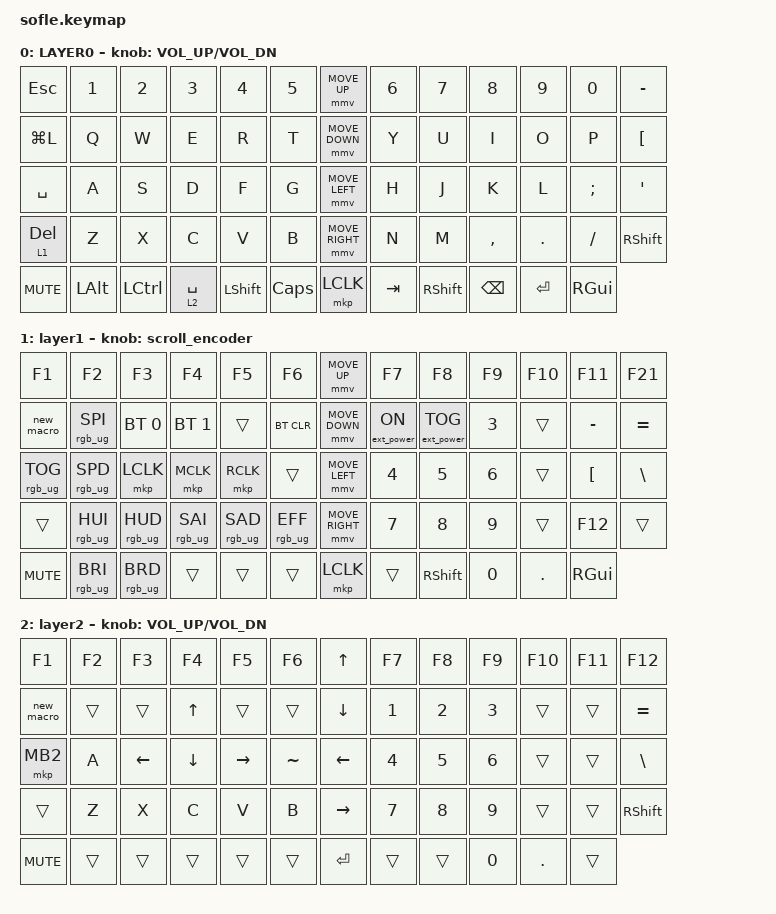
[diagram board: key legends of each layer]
#include <behaviors/mouse_keys.dtsi>
#include <behaviors.dtsi>
#include <dt-bindings/zmk/bt.h>
#include <dt-bindings/zmk/ext_power.h>
#include <dt-bindings/zmk/keys.h>
#include <dt-bindings/zmk/mouse.h>
#include <dt-bindings/zmk/rgb.h>

#define ZMK_MOUSE_DEFAULT_MOVE_VAL 1200  // 600
#define ZMK_MOUSE_DEFAULT_SCRL_VAL 20    // 10
#define U_MS_U &mmv MOVE_UP
#define U_MS_D &mmv MOVE_DOWN
#define U_MS_L &mmv MOVE_LEFT
#define U_MS_R &mmv MOVE_RIGHT
#define ZMK_MOUSE_DEFAULT_MOVE_VAL 1200  //  600
#define ZMK_MOUSE_DEFAULT_SCRL_VAL 20    // 10

/ {
    behaviors {
        mmv {
            acceleration-exponent = <1>;      // 1
            time-to-max-speed-ms = <900>;    // 40
            delay-ms = <0>;                   // 0
        };

        msc {
            acceleration-exponent = <1>;      // 0
            time-to-max-speed-ms = <400>;      // 500
            delay-ms = <0>;                   //   10
        };
    };

    scroll_encoder: scroll_encoder {
        compatible = "zmk,behavior-sensor-rotate";
        #sensor-binding-cells = <0>;
        bindings = <&msc SCRL_DOWN>, <&msc SCRL_UP>;

        tap-ms = <30>;
    };

    macros {
        new_macro: new_macro {
            compatible = "zmk,behavior-macro";
            #binding-cells = <0>;
            bindings = <&none &kp J &kp J &kp K &kp K &kp RET>;
            label = "NEW_MACRO";
        };

        new_macro2: new_macro2 {
            compatible = "zmk,behavior-macro";
            #binding-cells = <0>;
            bindings = <&none &kp TAB &kp RG(X) &kp U &kp S>;
            label = "NEW_MACRO2";
            wait-ms = <0>;
        };
    };

    keymap {
        compatible = "zmk,keymap";

        LAYER0 {
            display-name = "LAYER0";
            bindings = <
&kp ESC       &kp N1    &kp N2     &kp N3       &kp N4     &kp N5      &mmv MOVE_UP     &kp N6   &kp N7      &kp N8     &kp N9     &kp N0         &kp MINUS
&kp LG(L)     &kp Q     &kp W      &kp E        &kp R      &kp T       &mmv MOVE_DOWN   &kp Y    &kp U       &kp I      &kp O      &kp P          &kp LBKT
&kp SPACE     &kp A     &kp S      &kp D        &kp F      &kp G       &mmv MOVE_LEFT   &kp H    &kp J       &kp K      &kp L      &kp SEMI       &kp APOS
&lt 1 DELETE  &kp Z     &kp X      &kp C        &kp V      &kp B       &mmv MOVE_RIGHT  &kp N    &kp M       &kp COMMA  &kp DOT    &kp FSLH       &kp RIGHT_SHIFT
&kp C_MUTE    &kp LALT  &kp LCTRL  &lt 2 SPACE  &kp LSHFT  &kp CAPS    &mkp LCLK        &kp TAB  &kp RSHIFT  &kp BSPC   &kp ENTER  &kp RIGHT_GUI
            >;

            sensor-bindings = <&inc_dec_kp C_VOLUME_UP C_VOL_DN>;
        };

        layer_1 {
            bindings = <
&kp F1           &kp F2           &kp F3           &kp F4           &kp F5           &kp F6             &mmv MOVE_UP     &kp F7            &kp F8             &kp F9        &kp F10  &kp F11           &kp F21
&new_macro       &rgb_ug RGB_SPI  &bt BT_SEL 0     &bt BT_SEL 1     &trans           &bt BT_CLR         &mmv MOVE_DOWN   &ext_power EP_ON  &ext_power EP_TOG  &kp NUMBER_3  &trans   &kp MINUS         &kp EQUAL
&rgb_ug RGB_TOG  &rgb_ug RGB_SPD  &mkp LCLK        &mkp MCLK        &mkp RCLK        &trans             &mmv MOVE_LEFT   &kp NUMBER_4      &kp NUMBER_5       &kp NUMBER_6  &trans   &kp LEFT_BRACKET  &kp BSLH
&trans           &rgb_ug RGB_HUI  &rgb_ug RGB_HUD  &rgb_ug RGB_SAI  &rgb_ug RGB_SAD  &rgb_ug RGB_EFF    &mmv MOVE_RIGHT  &kp NUMBER_7      &kp NUMBER_8       &kp NUMBER_9  &trans   &kp F12           &trans
&kp C_MUTE       &rgb_ug RGB_BRI  &rgb_ug RGB_BRD  &trans           &trans           &trans             &mkp LCLK        &trans            &kp RSHIFT         &kp NUMBER_0  &kp DOT  &kp RIGHT_GUI
            >;

            display-name = "layer1";
            sensor-bindings = <&scroll_encoder>;
        };

        layer_2 {
            display-name = "layer2";
            bindings = <
&kp F1      &kp F2  &kp F3          &kp F4          &kp F5           &kp F6       &kp UP_ARROW     &kp F7  &kp F8  &kp F9  &kp F10  &kp F11  &kp F12
&new_macro  &trans  &trans          &kp UP_ARROW    &trans           &trans       &kp DOWN_ARROW   &kp N1  &kp N2  &kp N3  &trans   &trans   &kp EQUAL
&mkp MB2    &kp A   &kp LEFT_ARROW  &kp DOWN_ARROW  &kp RIGHT_ARROW  &kp TILDE    &kp LEFT_ARROW   &kp N4  &kp N5  &kp N6  &trans   &trans   &kp BSLH
&trans      &kp Z   &kp X           &kp C           &kp V            &kp B        &kp RIGHT_ARROW  &kp N7  &kp N8  &kp N9  &trans   &trans   &kp RSHFT
&kp C_MUTE  &trans  &trans          &trans          &trans           &trans       &kp ENTER        &trans  &trans  &kp N0  &kp DOT  &trans
            >;

            sensor-bindings = <&inc_dec_kp C_VOLUME_UP C_VOL_DN>;
        };
    };
};
